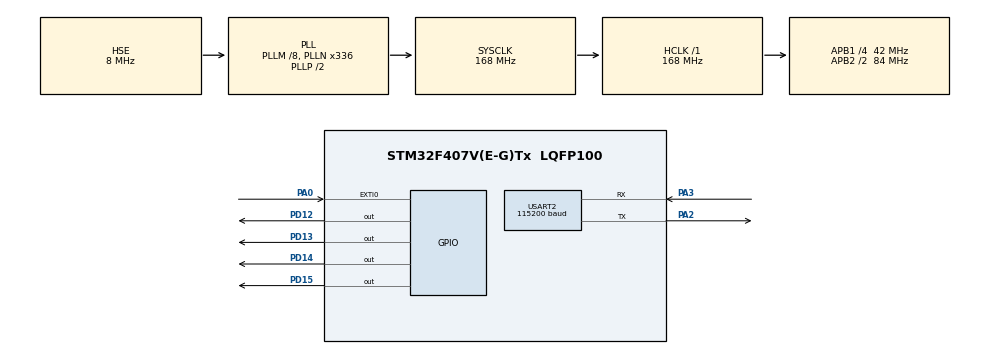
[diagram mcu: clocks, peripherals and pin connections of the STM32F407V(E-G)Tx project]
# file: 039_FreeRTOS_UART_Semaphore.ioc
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FREERTOS.Tasks01=defaultTask,24,128,StartDefaultTask,Default,NULL,Dynamic,NULL,NULL
FREERTOS.configUSE_NEWLIB_REENTRANT=1
Mcu.Family=STM32F4
Mcu.Name=STM32F407V(E-G)Tx
Mcu.Package=LQFP100
NVIC.EXTI0_IRQn=true\:5\:0\:false\:false\:true\:true\:true\:true\:true
NVIC.PriorityGroup=NVIC_PRIORITYGROUP_4
NVIC.TIM8_TRG_COM_TIM14_IRQn=true\:15\:0\:false\:false\:true\:false\:false\:true\:true
NVIC.TimeBase=TIM8_TRG_COM_TIM14_IRQn
NVIC.TimeBaseIP=TIM14
NVIC.USART2_IRQn=true\:5\:0\:false\:false\:true\:true\:true\:true\:true
PA0-WKUP.Signal=GPXTI0
PA2.Mode=Asynchronous
PA2.Signal=USART2_TX
PA3.Mode=Asynchronous
PA3.Signal=USART2_RX
PD12.Signal=GPIO_Output
PD13.Signal=GPIO_Output
PD14.Signal=GPIO_Output
PD15.Signal=GPIO_Output
PH0-OSC_IN.Mode=HSE-External-Oscillator
PH0-OSC_IN.Signal=RCC_OSC_IN
PH1-OSC_OUT.Mode=HSE-External-Oscillator
PH1-OSC_OUT.Signal=RCC_OSC_OUT
ProjectManager.HeapSize=0x200
ProjectManager.StackSize=0x400
ProjectManager.TargetToolchain=STM32CubeIDE
RCC.48MHZClocksFreq_Value=48000000
RCC.AHBFreq_Value=168000000
RCC.APB1CLKDivider=RCC_HCLK_DIV4
RCC.APB1Freq_Value=42000000
RCC.APB1TimFreq_Value=84000000
RCC.APB2CLKDivider=RCC_HCLK_DIV2
RCC.APB2Freq_Value=84000000
RCC.APB2TimFreq_Value=168000000
RCC.CortexFreq_Value=168000000
RCC.HCLKFreq_Value=168000000
RCC.HSE_VALUE=8000000
RCC.HSI_VALUE=16000000
RCC.LSE_VALUE=32768
RCC.PLLM=8
RCC.PLLN=336
RCC.PLLQ=7
RCC.PLLSourceVirtual=RCC_PLLSOURCE_HSE
RCC.SYSCLKFreq_VALUE=168000000
RCC.SYSCLKSource=RCC_SYSCLKSOURCE_PLLCLK
RCC.VCOOutputFreq_Value=336000000
USART2.BaudRate=115200
USART2.VirtualMode=VM_ASYNC
VP_FREERTOS_VS_CMSIS_V2.Mode=CMSIS_V2
VP_SYS_VS_tim14.Mode=TIM14
board=STM32F407G-DISC1

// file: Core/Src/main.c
/* USER CODE BEGIN Header */
/**
  ******************************************************************************
  * @file           : main.c
  * @brief          : Main program body
  ******************************************************************************
  * @attention
  *
  * Copyright (c) 2023 STMicroelectronics.
  * All rights reserved.
  *
  * This software is licensed under terms that can be found in the LICENSE file
  * in the root directory of this software component.
  * If no LICENSE file comes with this software, it is provided AS-IS.
  *
  ******************************************************************************
  */
/* USER CODE END Header */
#include "main.h"

/* USER CODE BEGIN Includes */
#include "FreeRTOS.h"
#include "task.h"
#include "semphr.h"
#include <string.h>
/* USER CODE END Includes */

/* USER CODE BEGIN PTD */
typedef struct
{
	SemaphoreHandle_t xTxSemaphore;
	uint8_t *DataSource;
	size_t uxLength;
	uint32_t Timeout;
}My_Uart_HandleTypedef;
/* USER CODE END PTD */

UART_HandleTypeDef huart2;

/* Definitions for defaultTask */

/* USER CODE BEGIN PV */
My_Uart_HandleTypedef pxUARTInstance;
SemaphoreHandle_t xBinarySemaphore = NULL;
/* USER CODE END PV */

void SystemClock_Config(void);
static void MX_GPIO_Init(void);
static void MX_USART2_UART_Init(void);

/* USER CODE BEGIN 0 */
BaseType_t xUART_Send()
{
	BaseType_t xReturn;
	// check for semaphore if available
	xSemaphoreTake(pxUARTInstance.xTxSemaphore, 0);
	// give peripheral data to send it with transmition complete interrupt
	HAL_UART_Transmit_IT(&huart2, (uint8_t *)pxUARTInstance.DataSource, pxUARTInstance.uxLength);

	// now take the semaphore for checking semaphore completed in given timeout value
	xReturn = xSemaphoreTake(pxUARTInstance.xTxSemaphore, pxUARTInstance.Timeout);
	return xReturn;
}

void HAL_UART_TxCpltCallback(UART_HandleTypeDef *huart)
{
	BaseType_t xHigherPriorityTaskWoken = pdFALSE;

	xSemaphoreGiveFromISR(pxUARTInstance.xTxSemaphore, &xHigherPriorityTaskWoken);
	portYIELD_FROM_ISR(xHigherPriorityTaskWoken);

}
void vTask1(void *pvParameters)
{
	BaseType_t xReturnedValue;
	pxUARTInstance.xTxSemaphore	 = xBinarySemaphore;
	const char *msg = "Hello World\r\n";
	pxUARTInstance.DataSource = msg;
	pxUARTInstance.uxLength = strlen(msg);
	pxUARTInstance.Timeout = pdMS_TO_TICKS(10);

	for(;;)
	{
		xReturnedValue = xUART_Send();
		if(xReturnedValue == pdPASS)
		{
			HAL_GPIO_WritePin(GPIOD,GPIO_PIN_12, GPIO_PIN_SET);
			HAL_GPIO_WritePin(GPIOD,GPIO_PIN_14, GPIO_PIN_RESET);
		}
		else
		{
			HAL_GPIO_WritePin(GPIOD,GPIO_PIN_12, GPIO_PIN_RESET);
			HAL_GPIO_WritePin(GPIOD,GPIO_PIN_14, GPIO_PIN_SET);
		}
		vTaskDelay(pdMS_TO_TICKS(500));
	}
}
/* USER CODE END 0 */

int main(void)
{

  /* MCU Configuration--------------------------------------------------------*/

  /* Reset of all peripherals, Initializes the Flash interface and the Systick. */
  HAL_Init();

  /* Configure the system clock */
  SystemClock_Config();

  /* Initialize all configured peripherals */
  MX_GPIO_Init();
  MX_USART2_UART_Init();
  /* USER CODE BEGIN 2 */
  xBinarySemaphore = xSemaphoreCreateBinary();
  xTaskCreate(vTask1, "Task1", configMINIMAL_STACK_SIZE, NULL, 1, NULL);
  vTaskStartScheduler();
  /* USER CODE END 2 */

  /* Init scheduler */

  /* Create the thread(s) */
  /* creation of defaultTask */

  /* Start scheduler */

  /* We should never get here as control is now taken by the scheduler */
  /* Infinite loop */
  while (1)
  {

  }
}

void SystemClock_Config(void)
{
  RCC_OscInitTypeDef RCC_OscInitStruct = {0};
  RCC_ClkInitTypeDef RCC_ClkInitStruct = {0};

  /** Configure the main internal regulator output voltage
  */
  __HAL_RCC_PWR_CLK_ENABLE();
  __HAL_PWR_VOLTAGESCALING_CONFIG(PWR_REGULATOR_VOLTAGE_SCALE1);

  /** Initializes the RCC Oscillators according to the specified parameters
  * in the RCC_OscInitTypeDef structure.
  */
  RCC_OscInitStruct.OscillatorType = RCC_OSCILLATORTYPE_HSE;
  RCC_OscInitStruct.HSEState = RCC_HSE_ON;
  RCC_OscInitStruct.PLL.PLLState = RCC_PLL_ON;
  RCC_OscInitStruct.PLL.PLLSource = RCC_PLLSOURCE_HSE;
  RCC_OscInitStruct.PLL.PLLM = 8;
  RCC_OscInitStruct.PLL.PLLN = 336;
  RCC_OscInitStruct.PLL.PLLP = RCC_PLLP_DIV2;
  RCC_OscInitStruct.PLL.PLLQ = 7;
  if (HAL_RCC_OscConfig(&RCC_OscInitStruct) != HAL_OK)
  {
    Error_Handler();
  }

  /** Initializes the CPU, AHB and APB buses clocks
  */
  RCC_ClkInitStruct.ClockType = RCC_CLOCKTYPE_HCLK|RCC_CLOCKTYPE_SYSCLK
                              |RCC_CLOCKTYPE_PCLK1|RCC_CLOCKTYPE_PCLK2;
  RCC_ClkInitStruct.SYSCLKSource = RCC_SYSCLKSOURCE_PLLCLK;
  RCC_ClkInitStruct.AHBCLKDivider = RCC_SYSCLK_DIV1;
  RCC_ClkInitStruct.APB1CLKDivider = RCC_HCLK_DIV4;
  RCC_ClkInitStruct.APB2CLKDivider = RCC_HCLK_DIV2;

  if (HAL_RCC_ClockConfig(&RCC_ClkInitStruct, FLASH_LATENCY_5) != HAL_OK)
  {
    Error_Handler();
  }
}

static void MX_USART2_UART_Init(void)
{

  huart2.Instance = USART2;
  huart2.Init.BaudRate = 115200;
  huart2.Init.WordLength = UART_WORDLENGTH_8B;
  huart2.Init.StopBits = UART_STOPBITS_1;
  huart2.Init.Parity = UART_PARITY_NONE;
  huart2.Init.Mode = UART_MODE_TX_RX;
  huart2.Init.HwFlowCtl = UART_HWCONTROL_NONE;
  huart2.Init.OverSampling = UART_OVERSAMPLING_16;
  if (HAL_UART_Init(&huart2) != HAL_OK)
  {
    Error_Handler();
  }

}

static void MX_GPIO_Init(void)
{
  GPIO_InitTypeDef GPIO_InitStruct = {0};

  /* GPIO Ports Clock Enable */
  __HAL_RCC_GPIOH_CLK_ENABLE();
  __HAL_RCC_GPIOA_CLK_ENABLE();
  __HAL_RCC_GPIOD_CLK_ENABLE();

  /*Configure GPIO pin Output Level */
  HAL_GPIO_WritePin(GPIOD, GPIO_PIN_12|GPIO_PIN_13|GPIO_PIN_14|GPIO_PIN_15, GPIO_PIN_RESET);

  /*Configure GPIO pin : PA0 */
  GPIO_InitStruct.Pin = GPIO_PIN_0;
  GPIO_InitStruct.Mode = GPIO_MODE_IT_RISING;
  GPIO_InitStruct.Pull = GPIO_NOPULL;
  HAL_GPIO_Init(GPIOA, &GPIO_InitStruct);

  /*Configure GPIO pins : PD12 PD13 PD14 PD15 */
  GPIO_InitStruct.Pin = GPIO_PIN_12|GPIO_PIN_13|GPIO_PIN_14|GPIO_PIN_15;
  GPIO_InitStruct.Mode = GPIO_MODE_OUTPUT_PP;
  GPIO_InitStruct.Pull = GPIO_NOPULL;
  GPIO_InitStruct.Speed = GPIO_SPEED_FREQ_LOW;
  HAL_GPIO_Init(GPIOD, &GPIO_InitStruct);

  /* EXTI interrupt init*/
  HAL_NVIC_SetPriority(EXTI0_IRQn, 5, 0);
  HAL_NVIC_EnableIRQ(EXTI0_IRQn);

}

void HAL_TIM_PeriodElapsedCallback(TIM_HandleTypeDef *htim)
{
  if (htim->Instance == TIM14) {
    HAL_IncTick();
  }
}

void Error_Handler(void)
{
  __disable_irq();
  while (1)
  {
  }
}
